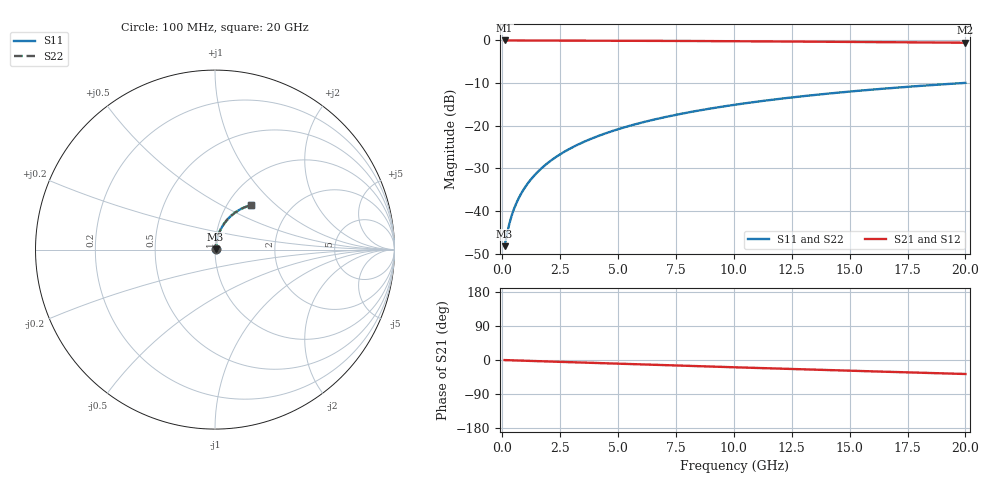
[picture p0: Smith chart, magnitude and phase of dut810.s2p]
! Touchstone file exported from HFSS 2026.1.0
!  File:  C:/ffzhzh/LocalFiles/Ansys_Project_Files/temp_train_TMRDL_810_1783156271_51560.aedt
!  Generated:  05:12:22 PM Jul  4, 2026
!  Design:  TMRDL
!  Project:  temp_train_TMRDL_810_1783156271_51560
! Variables:
!  h_bsmrdl = 2um
!  h_ox = 20um
!  h_rdl = 5um
!  h_sub = 80um
!  h_tmrdl = 2.97um
!  h_tsv = 80um
!  h_via = 3um
!  l_bsmrdl = 300um
!  l_sub = 946.65um
!  l_tmrdl = 546.65um
!  m_sub = 200um
!  pitch = 42.12um
!  r_tsv = 6um
!  s_tmrdl = 10um
!  w_bsmrdl = 18um
!  w_sub = 500um
!  w_tmrdl = 21.55um
!  x_tsv_center1 = 557.425um
!  x_tsv_center2 = 875.425um
!  x_tsv_center3 = 1443.625um
!  x_tsv_center4 = 1761.625um
!  x_tsv_center5 = 2329.825um
!  x_tsv_center6 = 2647.825um
# GHz S MA R 50.000000
! Terminal data exported
! Port[1] = TM_RDL1_1_T1
! Port[2] = TM_RDL1_1_T2
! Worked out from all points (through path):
!   200 points, 100 MHz to 20 GHz, reference 50 ohm
!   highest |S21| = -0.03 dB at 100 MHz (marker M1); lowest = -0.6 dB at 20 GHz (marker M2)
!   group delay of S21, straight-line fit = 5.13 ps
!   lowest |S11| = -48.3 dB at 100 MHz (marker M3), VSWR 1.01, Z = 50.3 + j0.207 ohm
!   |S11| at or under -10 dB: start of sweep to 19.94 GHz
!   |S22| runs from -48.3 to -10.0 dB; largest |S21 - S12| = 5e-15
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0.1  0.003856 32.3  0.9967 -0.2  0.9967 -0.2  0.003856 32.3
! Gamma 0 0 0 0
! Port Impedance 50 0 50 0
0.2  0.005305 49.9  0.9966 -0.4  0.9966 -0.4  0.005305 49.9
0.3  0.006987 58.9  0.9964 -0.6  0.9964 -0.6  0.006987 58.9
0.4  0.008716 64.1  0.9963 -0.8  0.9963 -0.8  0.008716 64.1
0.5  0.01045 67.5  0.9961 -1.0  0.9961 -1.0  0.01045 67.5
0.6  0.01219 70.0  0.996 -1.2  0.996 -1.2  0.01219 70.0
0.8  0.01569 73.3  0.9958 -1.6  0.9958 -1.6  0.01569 73.3
1.1  0.02098 76.2  0.9956 -2.2  0.9956 -2.2  0.02098 76.2
1.3  0.02454 77.4  0.9954 -2.6  0.9954 -2.6  0.02454 77.4
1.6  0.02992 78.5  0.9952 -3.1  0.9952 -3.1  0.02992 78.5
2.1  0.03891 79.2  0.9948 -4.1  0.9948 -4.1  0.03891 79.2
2.7  0.04972 79.3  0.9941 -5.3  0.9941 -5.3  0.04972 79.3
3.5  0.06408 78.8  0.993 -6.8  0.993 -6.8  0.06408 78.8
4.2  0.07657 77.9  0.9919 -8.2  0.9919 -8.2  0.07657 77.9
5  0.09071 76.8  0.9904 -9.7  0.9904 -9.7  0.09071 76.8
5.9  0.1064 75.4  0.9884 -11.4  0.9884 -11.4  0.1064 75.4
6.8  0.1219 73.9  0.9862 -13.2  0.9862 -13.2  0.1219 73.9
8.3  0.1472 71.3  0.9821 -16.0  0.9821 -16.0  0.1472 71.3
10.1  0.1766 68.1  0.9764 -19.3  0.9764 -19.3  0.1766 68.1
13.4  0.2275 62.3  0.9646 -25.4  0.9646 -25.4  0.2275 62.3
16.7  0.2744 56.7  0.9515 -31.2  0.9515 -31.2  0.2744 56.7
20  0.3169 51.1  0.9376 -36.9  0.9376 -36.9  0.3169 51.1
